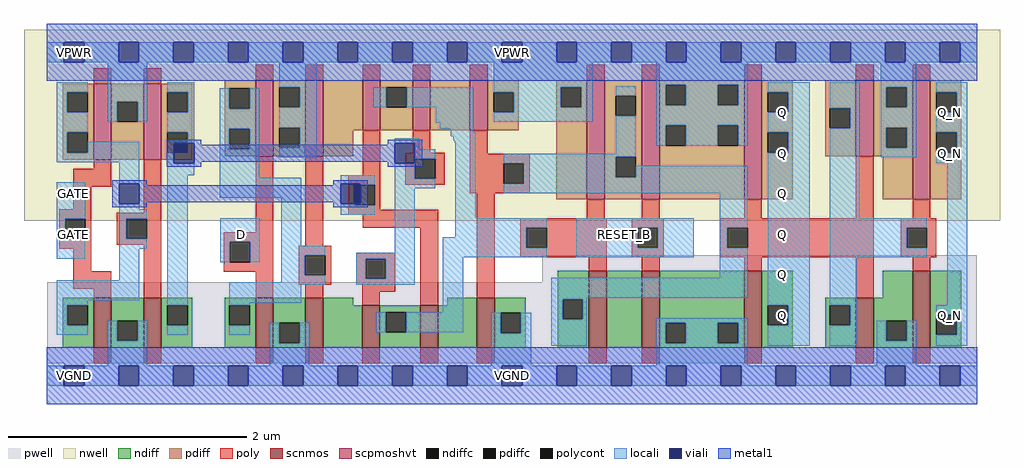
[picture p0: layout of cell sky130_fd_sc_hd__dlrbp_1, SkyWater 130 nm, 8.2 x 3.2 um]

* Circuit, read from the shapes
.subckt sky130_fd_sc_hd__dlrbp_1 D GATE RESET_B VGND VNB VPB VPWR Q Q_N
XM1 VGND GATE n1 VNB sky130_fd_pr__nfet_01v8 w=0.42 l=0.15
XM2 n2 n1 VGND VNB sky130_fd_pr__nfet_01v8 w=0.42 l=0.15
XM3 VGND D n3 VNB sky130_fd_pr__nfet_01v8 w=0.42 l=0.15
XM4 n4 n3 VGND VNB sky130_fd_pr__nfet_01v8 w=0.42 l=0.15
XM5 n5 n2 n4 VNB sky130_fd_pr__nfet_01v8 w=0.36 l=0.15
XM6 n6 n1 n5 VNB sky130_fd_pr__nfet_01v8 w=0.36 l=0.15
XM7 VGND n7 n6 VNB sky130_fd_pr__nfet_01v8 w=0.42 l=0.15
XM8 n8 n5 n7 VNB sky130_fd_pr__nfet_01v8 w=0.65 l=0.15
XM9 VGND RESET_B n8 VNB sky130_fd_pr__nfet_01v8 w=0.65 l=0.15
XM10 Q n7 VGND VNB sky130_fd_pr__nfet_01v8 w=0.65 l=0.15
XM11 VGND n7 n9 VNB sky130_fd_pr__nfet_01v8 w=0.42 l=0.15
XM12 Q_N n9 VGND VNB sky130_fd_pr__nfet_01v8 w=0.65 l=0.15
XM13 VPWR GATE n1 VPB sky130_fd_pr__pfet_01v8_hvt w=0.64 l=0.15
XM14 n2 n1 VPWR VPB sky130_fd_pr__pfet_01v8_hvt w=0.64 l=0.15
XM15 VPWR D n3 VPB sky130_fd_pr__pfet_01v8_hvt w=0.64 l=0.15
XM16 n10 n3 VPWR VPB sky130_fd_pr__pfet_01v8_hvt w=0.64 l=0.15
XM17 n5 n1 n10 VPB sky130_fd_pr__pfet_01v8_hvt w=0.42 l=0.15
XM18 n11 n2 n5 VPB sky130_fd_pr__pfet_01v8_hvt w=0.42 l=0.15
XM19 VPWR n7 n11 VPB sky130_fd_pr__pfet_01v8_hvt w=0.42 l=0.15
XM20 n7 n5 VPWR VPB sky130_fd_pr__pfet_01v8_hvt w=1 l=0.15
XM21 VPWR RESET_B n7 VPB sky130_fd_pr__pfet_01v8_hvt w=1 l=0.15
XM22 Q n7 VPWR VPB sky130_fd_pr__pfet_01v8_hvt w=1 l=0.15
XM23 VPWR n7 n9 VPB sky130_fd_pr__pfet_01v8_hvt w=0.64 l=0.15
XM24 Q_N n9 VPWR VPB sky130_fd_pr__pfet_01v8_hvt w=1 l=0.15
.ends

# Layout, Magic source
magic
tech sky130A
magscale 1 2
<< nwell >>
rect -38 261 1602 582
<< pwell >>
rect 833 157 1563 203
rect 1 21 1563 157
rect 30 -17 64 21
<< scnmos >>
rect 79 47 109 131
rect 163 47 193 131
rect 351 47 381 131
rect 435 47 465 131
rect 530 47 560 119
rect 628 47 658 119
rect 723 47 753 131
rect 911 47 941 177
rect 1000 47 1030 177
rect 1172 47 1202 177
rect 1360 47 1390 131
rect 1455 47 1485 177
<< scpmoshvt >>
rect 79 363 109 491
rect 163 363 193 491
rect 351 369 381 497
rect 435 369 465 497
rect 531 413 561 497
rect 615 413 645 497
rect 711 413 741 497
rect 908 297 938 497
rect 1000 297 1030 497
rect 1172 297 1202 497
rect 1360 369 1390 497
rect 1455 297 1485 497
<< ndiff >>
rect 27 119 79 131
rect 27 85 35 119
rect 69 85 79 119
rect 27 47 79 85
rect 109 93 163 131
rect 109 59 119 93
rect 153 59 163 93
rect 109 47 163 59
rect 193 119 245 131
rect 193 85 203 119
rect 237 85 245 119
rect 193 47 245 85
rect 299 119 351 131
rect 299 85 307 119
rect 341 85 351 119
rect 299 47 351 85
rect 381 89 435 131
rect 381 55 391 89
rect 425 55 435 89
rect 381 47 435 55
rect 465 119 515 131
rect 673 119 723 131
rect 465 47 530 119
rect 560 107 628 119
rect 560 73 570 107
rect 604 73 628 107
rect 560 47 628 73
rect 658 47 723 119
rect 753 106 805 131
rect 753 72 763 106
rect 797 72 805 106
rect 753 47 805 72
rect 859 129 911 177
rect 859 95 867 129
rect 901 95 911 129
rect 859 47 911 95
rect 941 47 1000 177
rect 1030 89 1172 177
rect 1030 55 1040 89
rect 1074 55 1128 89
rect 1162 55 1172 89
rect 1030 47 1172 55
rect 1202 119 1254 177
rect 1405 131 1455 177
rect 1202 85 1212 119
rect 1246 85 1254 119
rect 1202 47 1254 85
rect 1308 119 1360 131
rect 1308 85 1316 119
rect 1350 85 1360 119
rect 1308 47 1360 85
rect 1390 93 1455 131
rect 1390 59 1411 93
rect 1445 59 1455 93
rect 1390 47 1455 59
rect 1485 103 1537 177
rect 1485 69 1495 103
rect 1529 69 1537 103
rect 1485 47 1537 69
<< pdiff >>
rect 27 477 79 491
rect 27 443 35 477
rect 69 443 79 477
rect 27 409 79 443
rect 27 375 35 409
rect 69 375 79 409
rect 27 363 79 375
rect 109 461 163 491
rect 109 427 119 461
rect 153 427 163 461
rect 109 363 163 427
rect 193 477 245 491
rect 193 443 203 477
rect 237 443 245 477
rect 193 409 245 443
rect 193 375 203 409
rect 237 375 245 409
rect 193 363 245 375
rect 299 483 351 497
rect 299 449 307 483
rect 341 449 351 483
rect 299 415 351 449
rect 299 381 307 415
rect 341 381 351 415
rect 299 369 351 381
rect 381 485 435 497
rect 381 451 391 485
rect 425 451 435 485
rect 381 417 435 451
rect 381 383 391 417
rect 425 383 435 417
rect 381 369 435 383
rect 465 413 531 497
rect 561 485 615 497
rect 561 451 571 485
rect 605 451 615 485
rect 561 413 615 451
rect 645 413 711 497
rect 741 477 793 497
rect 741 443 751 477
rect 785 443 793 477
rect 741 413 793 443
rect 856 485 908 497
rect 856 451 864 485
rect 898 451 908 485
rect 465 369 515 413
rect 856 297 908 451
rect 938 471 1000 497
rect 938 437 956 471
rect 990 437 1000 471
rect 938 368 1000 437
rect 938 334 956 368
rect 990 334 1000 368
rect 938 297 1000 334
rect 1030 489 1172 497
rect 1030 455 1040 489
rect 1074 455 1128 489
rect 1162 455 1172 489
rect 1030 421 1172 455
rect 1030 387 1040 421
rect 1074 387 1128 421
rect 1162 387 1172 421
rect 1030 297 1172 387
rect 1202 477 1254 497
rect 1202 443 1212 477
rect 1246 443 1254 477
rect 1202 409 1254 443
rect 1202 375 1212 409
rect 1246 375 1254 409
rect 1202 297 1254 375
rect 1308 450 1360 497
rect 1308 416 1316 450
rect 1350 416 1360 450
rect 1308 369 1360 416
rect 1390 485 1455 497
rect 1390 451 1411 485
rect 1445 451 1455 485
rect 1390 417 1455 451
rect 1390 383 1411 417
rect 1445 383 1455 417
rect 1390 369 1455 383
rect 1405 297 1455 369
rect 1485 477 1537 497
rect 1485 443 1495 477
rect 1529 443 1537 477
rect 1485 409 1537 443
rect 1485 375 1495 409
rect 1529 375 1537 409
rect 1485 297 1537 375
<< ndiffc >>
rect 35 85 69 119
rect 119 59 153 93
rect 203 85 237 119
rect 307 85 341 119
rect 391 55 425 89
rect 570 73 604 107
rect 763 72 797 106
rect 867 95 901 129
rect 1040 55 1074 89
rect 1128 55 1162 89
rect 1212 85 1246 119
rect 1316 85 1350 119
rect 1411 59 1445 93
rect 1495 69 1529 103
<< pdiffc >>
rect 35 443 69 477
rect 35 375 69 409
rect 119 427 153 461
rect 203 443 237 477
rect 203 375 237 409
rect 307 449 341 483
rect 307 381 341 415
rect 391 451 425 485
rect 391 383 425 417
rect 571 451 605 485
rect 751 443 785 477
rect 864 451 898 485
rect 956 437 990 471
rect 956 334 990 368
rect 1040 455 1074 489
rect 1128 455 1162 489
rect 1040 387 1074 421
rect 1128 387 1162 421
rect 1212 443 1246 477
rect 1212 375 1246 409
rect 1316 416 1350 450
rect 1411 451 1445 485
rect 1411 383 1445 417
rect 1495 443 1529 477
rect 1495 375 1529 409
<< poly >>
rect 79 491 109 517
rect 163 491 193 517
rect 351 497 381 523
rect 435 497 465 523
rect 531 497 561 523
rect 615 497 645 523
rect 711 497 741 523
rect 908 497 938 523
rect 1000 497 1030 523
rect 1172 497 1202 523
rect 1360 497 1390 523
rect 1455 497 1485 523
rect 79 348 109 363
rect 45 318 109 348
rect 45 280 75 318
rect 21 264 75 280
rect 163 274 193 363
rect 21 230 31 264
rect 65 230 75 264
rect 21 214 75 230
rect 118 264 193 274
rect 118 230 134 264
rect 168 230 193 264
rect 351 241 381 369
rect 118 220 193 230
rect 45 176 75 214
rect 45 146 109 176
rect 79 131 109 146
rect 163 131 193 220
rect 298 225 381 241
rect 298 191 308 225
rect 342 191 381 225
rect 435 219 465 369
rect 531 337 561 413
rect 615 375 645 413
rect 507 321 561 337
rect 603 365 669 375
rect 603 331 619 365
rect 653 331 669 365
rect 603 321 669 331
rect 711 373 741 413
rect 711 357 812 373
rect 711 323 768 357
rect 802 323 812 357
rect 507 287 517 321
rect 551 287 561 321
rect 711 307 812 323
rect 507 279 561 287
rect 507 271 658 279
rect 531 249 658 271
rect 298 175 381 191
rect 351 131 381 175
rect 424 203 478 219
rect 424 169 434 203
rect 468 169 478 203
rect 424 153 478 169
rect 520 197 586 207
rect 520 163 536 197
rect 570 163 586 197
rect 520 153 586 163
rect 435 131 465 153
rect 530 141 586 153
rect 530 119 560 141
rect 628 119 658 249
rect 723 131 753 307
rect 908 265 938 297
rect 1000 265 1030 297
rect 1172 265 1202 297
rect 1360 265 1390 369
rect 1455 265 1485 297
rect 796 249 941 265
rect 796 215 806 249
rect 840 215 941 249
rect 796 199 941 215
rect 983 249 1037 265
rect 983 215 993 249
rect 1027 215 1037 249
rect 983 199 1037 215
rect 1131 249 1390 265
rect 1131 215 1144 249
rect 1178 215 1390 249
rect 1131 199 1390 215
rect 1435 249 1495 265
rect 1435 215 1445 249
rect 1479 215 1495 249
rect 1435 199 1495 215
rect 911 177 941 199
rect 1000 177 1030 199
rect 1172 177 1202 199
rect 1360 131 1390 199
rect 1455 177 1485 199
rect 79 21 109 47
rect 163 21 193 47
rect 351 21 381 47
rect 435 21 465 47
rect 530 21 560 47
rect 628 21 658 47
rect 723 21 753 47
rect 911 21 941 47
rect 1000 21 1030 47
rect 1172 21 1202 47
rect 1360 21 1390 47
rect 1455 21 1485 47
<< polycont >>
rect 31 230 65 264
rect 134 230 168 264
rect 308 191 342 225
rect 619 331 653 365
rect 768 323 802 357
rect 517 287 551 321
rect 434 169 468 203
rect 536 163 570 197
rect 806 215 840 249
rect 993 215 1027 249
rect 1144 215 1178 249
rect 1445 215 1479 249
<< locali >>
rect 0 527 29 561
rect 63 527 121 561
rect 155 527 213 561
rect 247 527 305 561
rect 339 527 397 561
rect 431 527 489 561
rect 523 527 581 561
rect 615 527 673 561
rect 707 527 765 561
rect 799 527 857 561
rect 891 527 949 561
rect 983 527 1041 561
rect 1075 527 1133 561
rect 1167 527 1225 561
rect 1259 527 1317 561
rect 1351 527 1409 561
rect 1443 527 1501 561
rect 1535 527 1564 561
rect 17 477 69 493
rect 17 443 35 477
rect 17 409 69 443
rect 103 461 169 527
rect 103 427 119 461
rect 153 427 169 461
rect 203 477 248 493
rect 391 485 454 527
rect 751 485 918 527
rect 1024 489 1178 527
rect 237 443 248 477
rect 17 375 35 409
rect 203 409 248 443
rect 69 375 156 393
rect 17 359 156 375
rect 17 264 65 325
rect 17 230 31 264
rect 17 197 65 230
rect 122 323 156 359
rect 122 280 156 289
rect 237 391 248 409
rect 203 357 214 375
rect 203 337 248 357
rect 291 449 307 483
rect 341 449 357 483
rect 291 415 357 449
rect 291 381 307 415
rect 341 381 357 415
rect 122 264 168 280
rect 122 230 134 264
rect 122 214 168 230
rect 122 161 156 214
rect 17 127 156 161
rect 17 119 69 127
rect 17 85 35 119
rect 203 119 237 337
rect 291 333 357 381
rect 425 451 454 485
rect 549 451 571 485
rect 605 451 717 485
rect 391 417 454 451
rect 654 425 717 451
rect 751 477 864 485
rect 785 451 864 477
rect 898 451 918 485
rect 785 443 918 451
rect 751 427 918 443
rect 956 471 990 487
rect 425 383 454 417
rect 661 415 717 425
rect 679 409 717 415
rect 679 403 721 409
rect 391 367 454 383
rect 585 391 626 399
rect 683 398 721 403
rect 684 395 721 398
rect 686 392 721 395
rect 619 381 626 391
rect 619 365 653 381
rect 291 299 428 333
rect 292 225 358 265
rect 292 191 308 225
rect 342 191 358 225
rect 394 219 428 299
rect 494 323 551 337
rect 528 321 551 323
rect 494 287 517 289
rect 494 271 551 287
rect 585 331 619 357
rect 585 315 653 331
rect 394 203 468 219
rect 585 207 619 315
rect 687 265 721 392
rect 956 373 990 437
rect 1024 455 1040 489
rect 1074 455 1128 489
rect 1162 455 1178 489
rect 1024 421 1178 455
rect 1024 387 1040 421
rect 1074 387 1128 421
rect 1162 387 1178 421
rect 1212 477 1282 493
rect 1246 443 1282 477
rect 1212 409 1282 443
rect 768 368 990 373
rect 768 357 956 368
rect 802 334 956 357
rect 1246 375 1282 409
rect 990 334 1178 353
rect 802 323 1178 334
rect 768 307 1178 323
rect 687 249 840 265
rect 687 233 806 249
rect 394 169 434 203
rect 394 157 468 169
rect 17 69 69 85
rect 103 59 119 93
rect 153 59 169 93
rect 203 69 237 85
rect 307 153 468 157
rect 520 197 619 207
rect 520 163 536 197
rect 570 163 619 197
rect 520 153 619 163
rect 666 215 806 233
rect 666 199 840 215
rect 890 249 1087 265
rect 890 215 993 249
rect 1027 215 1087 249
rect 890 199 1087 215
rect 1131 249 1178 307
rect 1131 215 1144 249
rect 307 123 428 153
rect 307 119 341 123
rect 666 107 700 199
rect 1131 165 1178 215
rect 307 69 341 85
rect 103 17 169 59
rect 375 55 391 89
rect 425 55 441 89
rect 554 73 570 107
rect 604 73 700 107
rect 848 131 1178 165
rect 848 129 908 131
rect 375 17 441 55
rect 747 72 763 106
rect 797 72 814 106
rect 747 17 814 72
rect 848 95 867 129
rect 901 95 908 129
rect 1212 119 1282 375
rect 848 51 908 95
rect 1024 89 1178 97
rect 1024 55 1040 89
rect 1074 55 1128 89
rect 1162 55 1178 89
rect 1024 17 1178 55
rect 1246 85 1282 119
rect 1212 51 1282 85
rect 1316 450 1366 493
rect 1350 416 1366 450
rect 1316 265 1366 416
rect 1402 485 1461 527
rect 1402 451 1411 485
rect 1445 451 1461 485
rect 1402 417 1461 451
rect 1402 383 1411 417
rect 1445 383 1461 417
rect 1402 367 1461 383
rect 1495 477 1547 493
rect 1529 443 1547 477
rect 1495 409 1547 443
rect 1529 375 1547 409
rect 1495 357 1547 375
rect 1316 249 1479 265
rect 1316 215 1445 249
rect 1316 199 1479 215
rect 1316 119 1361 199
rect 1513 119 1547 357
rect 1350 85 1361 119
rect 1495 103 1547 119
rect 1316 51 1361 85
rect 1395 59 1411 93
rect 1445 59 1461 93
rect 1395 17 1461 59
rect 1529 69 1547 103
rect 1495 51 1547 69
rect 0 -17 29 17
rect 63 -17 121 17
rect 155 -17 213 17
rect 247 -17 305 17
rect 339 -17 397 17
rect 431 -17 489 17
rect 523 -17 581 17
rect 615 -17 673 17
rect 707 -17 765 17
rect 799 -17 857 17
rect 891 -17 949 17
rect 983 -17 1041 17
rect 1075 -17 1133 17
rect 1167 -17 1225 17
rect 1259 -17 1317 17
rect 1351 -17 1409 17
rect 1443 -17 1501 17
rect 1535 -17 1564 17
<< viali >>
rect 29 527 63 561
rect 121 527 155 561
rect 213 527 247 561
rect 305 527 339 561
rect 397 527 431 561
rect 489 527 523 561
rect 581 527 615 561
rect 673 527 707 561
rect 765 527 799 561
rect 857 527 891 561
rect 949 527 983 561
rect 1041 527 1075 561
rect 1133 527 1167 561
rect 1225 527 1259 561
rect 1317 527 1351 561
rect 1409 527 1443 561
rect 1501 527 1535 561
rect 122 289 156 323
rect 214 375 237 391
rect 237 375 248 391
rect 214 357 248 375
rect 585 357 619 391
rect 494 321 528 323
rect 494 289 517 321
rect 517 289 528 321
rect 29 -17 63 17
rect 121 -17 155 17
rect 213 -17 247 17
rect 305 -17 339 17
rect 397 -17 431 17
rect 489 -17 523 17
rect 581 -17 615 17
rect 673 -17 707 17
rect 765 -17 799 17
rect 857 -17 891 17
rect 949 -17 983 17
rect 1041 -17 1075 17
rect 1133 -17 1167 17
rect 1225 -17 1259 17
rect 1317 -17 1351 17
rect 1409 -17 1443 17
rect 1501 -17 1535 17
<< metal1 >>
rect 0 561 1564 592
rect 0 527 29 561
rect 63 527 121 561
rect 155 527 213 561
rect 247 527 305 561
rect 339 527 397 561
rect 431 527 489 561
rect 523 527 581 561
rect 615 527 673 561
rect 707 527 765 561
rect 799 527 857 561
rect 891 527 949 561
rect 983 527 1041 561
rect 1075 527 1133 561
rect 1167 527 1225 561
rect 1259 527 1317 561
rect 1351 527 1409 561
rect 1443 527 1501 561
rect 1535 527 1564 561
rect 0 496 1564 527
rect 202 391 260 397
rect 202 357 214 391
rect 248 388 260 391
rect 573 391 631 397
rect 573 388 585 391
rect 248 360 585 388
rect 248 357 260 360
rect 202 351 260 357
rect 573 357 585 360
rect 619 357 631 391
rect 573 351 631 357
rect 110 323 168 329
rect 110 289 122 323
rect 156 320 168 323
rect 482 323 540 329
rect 482 320 494 323
rect 156 292 494 320
rect 156 289 168 292
rect 110 283 168 289
rect 482 289 494 292
rect 528 289 540 323
rect 482 283 540 289
rect 0 17 1564 48
rect 0 -17 29 17
rect 63 -17 121 17
rect 155 -17 213 17
rect 247 -17 305 17
rect 339 -17 397 17
rect 431 -17 489 17
rect 523 -17 581 17
rect 615 -17 673 17
rect 707 -17 765 17
rect 799 -17 857 17
rect 891 -17 949 17
rect 983 -17 1041 17
rect 1075 -17 1133 17
rect 1167 -17 1225 17
rect 1259 -17 1317 17
rect 1351 -17 1409 17
rect 1443 -17 1501 17
rect 1535 -17 1564 17
rect 0 -48 1564 -17
<< labels >>
flabel locali s 29 221 63 255 0 FreeSans 200 0 0 0 GATE
port 2 nsew clock input
flabel locali s 954 221 988 255 0 FreeSans 200 0 0 0 RESET_B
port 3 nsew signal input
flabel locali s 1500 85 1534 119 0 FreeSans 200 0 0 0 Q_N
port 9 nsew signal output
flabel locali s 1046 221 1080 255 0 FreeSans 200 0 0 0 RESET_B
port 3 nsew signal input
flabel locali s 1220 289 1254 323 0 FreeSans 200 0 0 0 Q
port 8 nsew signal output
flabel locali s 1220 357 1254 391 0 FreeSans 200 0 0 0 Q
port 8 nsew signal output
flabel locali s 1220 425 1254 459 0 FreeSans 200 0 0 0 Q
port 8 nsew signal output
flabel locali s 1220 85 1254 119 0 FreeSans 200 0 0 0 Q
port 8 nsew signal output
flabel locali s 1500 357 1534 391 0 FreeSans 200 0 0 0 Q_N
port 9 nsew signal output
flabel locali s 1220 221 1254 255 0 FreeSans 200 0 0 0 Q
port 8 nsew signal output
flabel locali s 1500 425 1534 459 0 FreeSans 200 0 0 0 Q_N
port 9 nsew signal output
flabel locali s 310 221 344 255 0 FreeSans 200 0 0 0 D
port 1 nsew signal input
flabel locali s 29 289 63 323 0 FreeSans 200 0 0 0 GATE
port 2 nsew clock input
flabel locali s 1220 153 1254 187 0 FreeSans 200 0 0 0 Q
port 8 nsew signal output
flabel metal1 s 30 -17 64 17 0 FreeSans 200 0 0 0 VGND
port 4 nsew ground bidirectional abutment
flabel metal1 s 30 527 64 561 0 FreeSans 200 0 0 0 VPWR
port 7 nsew power bidirectional abutment
flabel nwell s 30 527 64 561 0 FreeSans 200 0 0 0 VPB
port 6 nsew power bidirectional
flabel nwell s 47 544 47 544 0 FreeSans 200 0 0 0 VPB
flabel pwell s 30 -17 64 17 0 FreeSans 200 0 0 0 VNB
port 5 nsew ground bidirectional
flabel pwell s 47 0 47 0 0 FreeSans 200 0 0 0 VNB
rlabel comment s 0 0 0 0 4 dlrbp_1
rlabel metal1 s 0 -48 1564 48 1 VGND
port 4 nsew ground bidirectional abutment
rlabel metal1 s 0 496 1564 592 1 VPWR
port 7 nsew power bidirectional abutment
<< properties >>
string FIXED_BBOX 0 0 1564 544
string GDS_END 2696512
string GDS_FILE $PDKPATH/libs.ref/sky130_fd_sc_hd/gds/sky130_fd_sc_hd.gds
string GDS_START 2683288
string LEFclass CORE
string LEFsite unithd
string LEFsymmetry X Y R90
string path 0.000 0.000 39.100 0.000 
<< end >>
